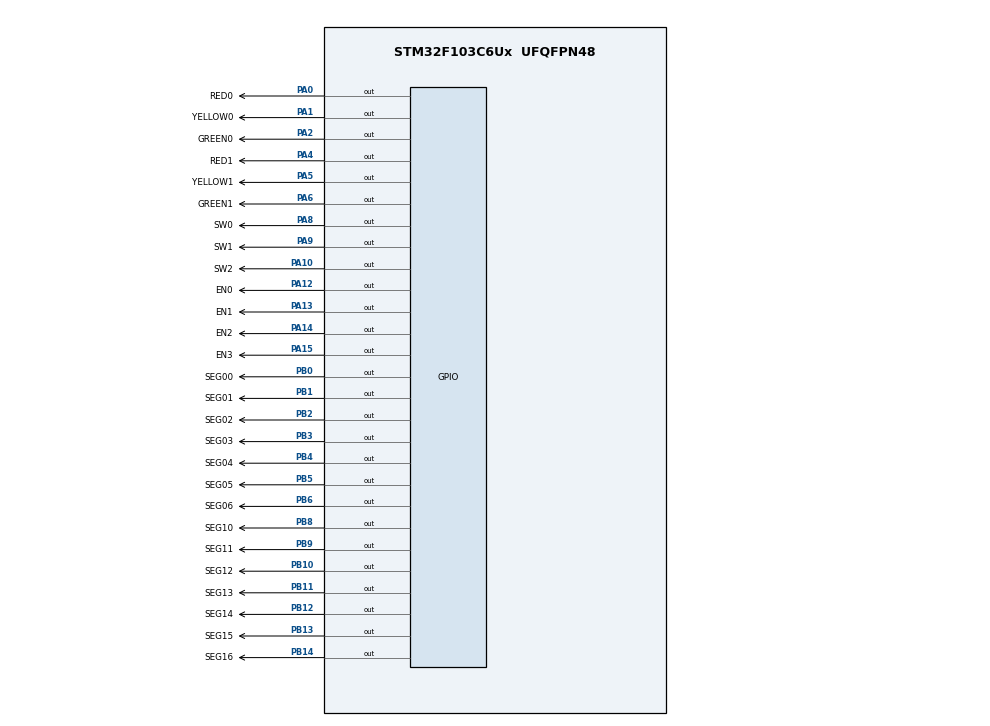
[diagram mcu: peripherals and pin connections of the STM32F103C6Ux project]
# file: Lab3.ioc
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Mcu.Family=STM32F1
Mcu.Name=STM32F103C6Ux
Mcu.Package=UFQFPN48
NVIC.PriorityGroup=NVIC_PRIORITYGROUP_4
NVIC.TIM2_IRQn=true\:0\:0\:false\:false\:true\:true\:true
PA0-WKUP.GPIO_Label=RED0
PA0-WKUP.Signal=GPIO_Output
PA1.GPIO_Label=YELLOW0
PA1.Signal=GPIO_Output
PA10.GPIO_Label=SW2
PA10.Signal=GPIO_Output
PA12.GPIO_Label=EN0
PA12.Signal=GPIO_Output
PA13.GPIO_Label=EN1
PA13.Signal=GPIO_Output
PA14.GPIO_Label=EN2
PA14.Signal=GPIO_Output
PA15.GPIO_Label=EN3
PA15.Signal=GPIO_Output
PA2.GPIO_Label=GREEN0
PA2.Signal=GPIO_Output
PA4.GPIO_Label=RED1
PA4.Signal=GPIO_Output
PA5.GPIO_Label=YELLOW1
PA5.Signal=GPIO_Output
PA6.GPIO_Label=GREEN1
PA6.Signal=GPIO_Output
PA8.GPIO_Label=SW0
PA8.Signal=GPIO_Output
PA9.GPIO_Label=SW1
PA9.Signal=GPIO_Output
PB0.GPIO_Label=SEG00
PB0.Signal=GPIO_Output
PB1.GPIO_Label=SEG01
PB1.Signal=GPIO_Output
PB10.GPIO_Label=SEG12
PB10.Signal=GPIO_Output
PB11.GPIO_Label=SEG13
PB11.Signal=GPIO_Output
PB12.GPIO_Label=SEG14
PB12.Signal=GPIO_Output
PB13.GPIO_Label=SEG15
PB13.Signal=GPIO_Output
PB14.GPIO_Label=SEG16
PB14.Signal=GPIO_Output
PB2.GPIO_Label=SEG02
PB2.Signal=GPIO_Output
PB3.GPIO_Label=SEG03
PB3.Signal=GPIO_Output
PB4.GPIO_Label=SEG04
PB4.Signal=GPIO_Output
PB5.GPIO_Label=SEG05
PB5.Signal=GPIO_Output
PB6.GPIO_Label=SEG06
PB6.Signal=GPIO_Output
PB8.GPIO_Label=SEG10
PB8.Signal=GPIO_Output
PB9.GPIO_Label=SEG11
PB9.Signal=GPIO_Output
ProjectManager.HeapSize=0x200
ProjectManager.StackSize=0x400
ProjectManager.TargetToolchain=STM32CubeIDE
RCC.AHBFreq_Value=8000000
RCC.APB1Freq_Value=8000000
RCC.APB1TimFreq_Value=8000000
RCC.APB2Freq_Value=8000000
RCC.APB2TimFreq_Value=8000000
RCC.HCLKFreq_Value=8000000
TIM2.Period=9
TIM2.Prescaler=7999
VP_SYS_VS_ND.Mode=No_Debug
VP_TIM2_VS_ClockSourceINT.Mode=Internal
board=custom

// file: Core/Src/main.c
/* USER CODE BEGIN Header */
/**
  ******************************************************************************
  * @file           : main.c
  * @brief          : Main program body
  ******************************************************************************
  * @attention
  *
  * <h2><center>&copy; Copyright (c) 2023 STMicroelectronics.
  * All rights reserved.</center></h2>
  *
  * This software component is licensed by ST under BSD 3-Clause license,
  * the "License"; You may not use this file except in compliance with the
  * License. You may obtain a copy of the License at:
  *                        opensource.org/licenses/BSD-3-Clause
  *
  ******************************************************************************
  */
/* USER CODE END Header */
#include "main.h"

/* USER CODE BEGIN Includes */
#include "input_processing.h"
#include "timerMCU.h"
/* USER CODE END Includes */

TIM_HandleTypeDef htim2;

void SystemClock_Config(void);
static void MX_TIM2_Init(void);
static void MX_GPIO_Init(void);

int main(void)
{

  /* MCU Configuration--------------------------------------------------------*/

  /* Reset of all peripherals, Initializes the Flash interface and the Systick. */
  HAL_Init();

  /* Configure the system clock */
  SystemClock_Config();

  /* Initialize all configured peripherals */
  MX_TIM2_Init();
  MX_GPIO_Init();

  /* Infinite loop */
  /* USER CODE BEGIN WHILE */
  setTimer0(23);
  setTimer1(31);
  setTimer2(51);
  setTimer3(71);
  setTimer4(111);
  setTimer5(131);
  while (1)
  {
	  if(timer0Flag==1){
		  setTimer0(50);
		  fsm_for_mode_button();
	  }
	  if(timer1Flag==1){
		  setTimer1(50);
		  fsm_for_modify_button();
	  }
	  if(timer2Flag==1){
		  setTimer2(50);
		  fsm_for_set_button();
	  }
	  if(timer3Flag==1){
		  setTimer3(500);
		  switch(mode){
			  case NORMAL:
				  mode_normal();
				  break;
			  case MOD_RED:
				  mode_mod_red();
				  break;
			  case MOD_YELLOW:
				  mode_mod_yellow();
				  break;
			  case MOD_GREEN:
				  mode_mod_green();
				  break;
		  }
	  }
    /* USER CODE END WHILE */

  }
}

void SystemClock_Config(void)
{
  RCC_OscInitTypeDef RCC_OscInitStruct = {0};
  RCC_ClkInitTypeDef RCC_ClkInitStruct = {0};

  /** Initializes the RCC Oscillators according to the specified parameters
  * in the RCC_OscInitTypeDef structure.
  */
  RCC_OscInitStruct.OscillatorType = RCC_OSCILLATORTYPE_HSI;
  RCC_OscInitStruct.HSIState = RCC_HSI_ON;
  RCC_OscInitStruct.HSICalibrationValue = RCC_HSICALIBRATION_DEFAULT;
  RCC_OscInitStruct.PLL.PLLState = RCC_PLL_NONE;
  if (HAL_RCC_OscConfig(&RCC_OscInitStruct) != HAL_OK)
  {
    Error_Handler();
  }
  /** Initializes the CPU, AHB and APB buses clocks
  */
  RCC_ClkInitStruct.ClockType = RCC_CLOCKTYPE_HCLK|RCC_CLOCKTYPE_SYSCLK
                              |RCC_CLOCKTYPE_PCLK1|RCC_CLOCKTYPE_PCLK2;
  RCC_ClkInitStruct.SYSCLKSource = RCC_SYSCLKSOURCE_HSI;
  RCC_ClkInitStruct.AHBCLKDivider = RCC_SYSCLK_DIV1;
  RCC_ClkInitStruct.APB1CLKDivider = RCC_HCLK_DIV1;
  RCC_ClkInitStruct.APB2CLKDivider = RCC_HCLK_DIV1;

  if (HAL_RCC_ClockConfig(&RCC_ClkInitStruct, FLASH_LATENCY_0) != HAL_OK)
  {
    Error_Handler();
  }
}

static void MX_TIM2_Init(void)
{

  TIM_ClockConfigTypeDef sClockSourceConfig = {0};
  TIM_MasterConfigTypeDef sMasterConfig = {0};

  htim2.Instance = TIM2;
  htim2.Init.Prescaler = 7999;
  htim2.Init.CounterMode = TIM_COUNTERMODE_UP;
  htim2.Init.Period = 9;
  htim2.Init.ClockDivision = TIM_CLOCKDIVISION_DIV1;
  htim2.Init.AutoReloadPreload = TIM_AUTORELOAD_PRELOAD_DISABLE;
  if (HAL_TIM_Base_Init(&htim2) != HAL_OK)
  {
    Error_Handler();
  }
  sClockSourceConfig.ClockSource = TIM_CLOCKSOURCE_INTERNAL;
  if (HAL_TIM_ConfigClockSource(&htim2, &sClockSourceConfig) != HAL_OK)
  {
    Error_Handler();
  }
  sMasterConfig.MasterOutputTrigger = TIM_TRGO_RESET;
  sMasterConfig.MasterSlaveMode = TIM_MASTERSLAVEMODE_DISABLE;
  if (HAL_TIMEx_MasterConfigSynchronization(&htim2, &sMasterConfig) != HAL_OK)
  {
    Error_Handler();
  }

}

static void MX_GPIO_Init(void)
{
  GPIO_InitTypeDef GPIO_InitStruct = {0};

  /* GPIO Ports Clock Enable */
  __HAL_RCC_GPIOA_CLK_ENABLE();
  __HAL_RCC_GPIOB_CLK_ENABLE();

  /*Configure GPIO pin Output Level */
  HAL_GPIO_WritePin(GPIOA, RED0_Pin|YELLOW0_Pin|GREEN0_Pin|RED1_Pin
                          |YELLOW1_Pin|GREEN1_Pin|SW0_Pin|SW1_Pin
                          |SW2_Pin|EN0_Pin|EN1_Pin|EN2_Pin
                          |EN3_Pin, GPIO_PIN_RESET);

  /*Configure GPIO pin Output Level */
  HAL_GPIO_WritePin(GPIOB, SEG00_Pin|SEG01_Pin|SEG02_Pin|SEG12_Pin
                          |SEG13_Pin|SEG14_Pin|SEG15_Pin|SEG16_Pin
                          |SEG03_Pin|SEG04_Pin|SEG05_Pin|SEG06_Pin
                          |SEG10_Pin|SEG11_Pin, GPIO_PIN_RESET);

  /*Configure GPIO pins : RED0_Pin YELLOW0_Pin GREEN0_Pin RED1_Pin
                           YELLOW1_Pin GREEN1_Pin SW0_Pin SW1_Pin
                           SW2_Pin EN0_Pin EN1_Pin EN2_Pin
                           EN3_Pin */
  GPIO_InitStruct.Pin = RED0_Pin|YELLOW0_Pin|GREEN0_Pin|RED1_Pin
                          |YELLOW1_Pin|GREEN1_Pin|SW0_Pin|SW1_Pin
                          |SW2_Pin|EN0_Pin|EN1_Pin|EN2_Pin
                          |EN3_Pin;
  GPIO_InitStruct.Mode = GPIO_MODE_OUTPUT_PP;
  GPIO_InitStruct.Pull = GPIO_NOPULL;
  GPIO_InitStruct.Speed = GPIO_SPEED_FREQ_LOW;
  HAL_GPIO_Init(GPIOA, &GPIO_InitStruct);

  /*Configure GPIO pins : SEG00_Pin SEG01_Pin SEG02_Pin SEG12_Pin
                           SEG13_Pin SEG14_Pin SEG15_Pin SEG16_Pin
                           SEG03_Pin SEG04_Pin SEG05_Pin SEG06_Pin
                           SEG10_Pin SEG11_Pin */
  GPIO_InitStruct.Pin = SEG00_Pin|SEG01_Pin|SEG02_Pin|SEG12_Pin
                          |SEG13_Pin|SEG14_Pin|SEG15_Pin|SEG16_Pin
                          |SEG03_Pin|SEG04_Pin|SEG05_Pin|SEG06_Pin
                          |SEG10_Pin|SEG11_Pin;
  GPIO_InitStruct.Mode = GPIO_MODE_OUTPUT_PP;
  GPIO_InitStruct.Pull = GPIO_NOPULL;
  GPIO_InitStruct.Speed = GPIO_SPEED_FREQ_LOW;
  HAL_GPIO_Init(GPIOB, &GPIO_InitStruct);

}

/* USER CODE BEGIN 4 */
void HAL_TIM_PeriodElapsedCallback ( TIM_HandleTypeDef * htim )
{
	if(htim -> Instance == TIM2 ){
		button_reading ();
	}
	timerRun();
}
/* USER CODE END 4 */

void Error_Handler(void)
{
  __disable_irq();
  while (1)
  {
  }
}

/************************ (C) COPYRIGHT STMicroelectronics *****END OF FILE****/
